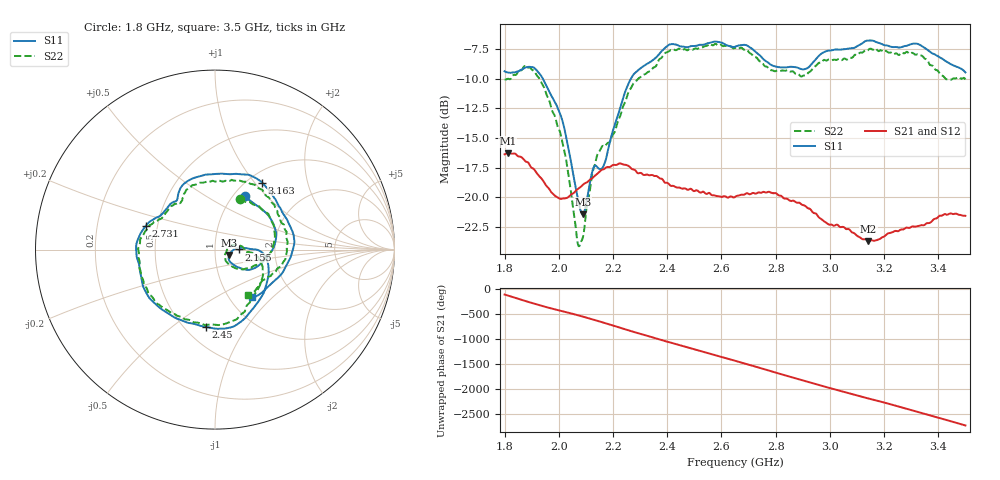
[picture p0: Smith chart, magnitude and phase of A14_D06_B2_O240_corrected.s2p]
! Created with skrf 1.9.0 (http://scikit-rf.org).
# Hz S RI R 50.0
!freq ReS11 ImS11 ReS21 ImS21 ReS12 ImS12 ReS22 ImS22
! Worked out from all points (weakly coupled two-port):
!   1601 points, 1.8 GHz to 3.5 GHz, reference 50 ohm
!   highest |S21| = -16.29 dB at 1.812 GHz (marker M1); lowest = -23.7 dB at 3.142 GHz (marker M2)
!   lowest |S11| = -21.4 dB at 2.089 GHz (marker M3), VSWR 1.19, Z = 58.5 - j3.59 ohm
!   |S11| at or under -10 dB: 1.941 GHz to 2.266 GHz (324.2 MHz wide, 15.4 % of centre)
!   |S22| runs from -24.1 to -7.0 dB; largest |S21 - S12| = 0.0025
!   S11 on the Smith chart (normalised r, x): 1.8 GHz: 1.13, +0.76; 2.155 GHz: 1.30, +0.00; 2.45 GHz: 0.63, -0.67; 2.731 GHz: 0.43, +0.14; 3.163 GHz: 1.16, +1.09; 3.5 GHz: 1.27, -0.76
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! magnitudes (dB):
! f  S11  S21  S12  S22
! 1.8 GHz  -9.4  -16.4  -16.4  -10.0
! 1.812 GHz  -9.5  -16.3  -16.3  -10.0
! 1.881 GHz  -9.0  -17.0  -17.0  -9.1
! 1.942 GHz  -10.0  -18.6  -18.6  -10.6
! 2.013 GHz  -13.5  -20.1  -20.1  -15.3
! 2.068 GHz  -19.8  -19.3  -19.4  -23.6
! 2.084 GHz  -21.3  -19.1  -19.0  -23.7
! 2.089 GHz  -21.4  -19.0  -19.0  -23.4
! 2.127 GHz  -17.6  -18.3  -18.3  -17.7
! 2.155 GHz  -17.6  -17.7  -17.8  -15.9
! 2.197 GHz  -14.5  -17.3  -17.3  -14.8
! 2.263 GHz  -10.1  -17.5  -17.5  -10.9
! 2.367 GHz  -8.0  -18.3  -18.3  -8.5
! 2.45 GHz  -7.3  -19.2  -19.2  -7.6
! 2.65 GHz  -7.3  -20.0  -19.9  -7.4
! 2.731 GHz  -7.8  -19.7  -19.7  -8.2
! 2.934 GHz  -8.7  -21.2  -21.1  -9.2
! 3.142 GHz  -6.8  -23.7  -23.6  -7.6
! 3.163 GHz  -6.8  -23.7  -23.6  -7.5
! 3.217 GHz  -7.2  -23.0  -23.0  -7.8
! 3.326 GHz  -7.1  -22.4  -22.4  -8.0
! 3.5 GHz  -9.5  -21.6  -21.5  -10.1
